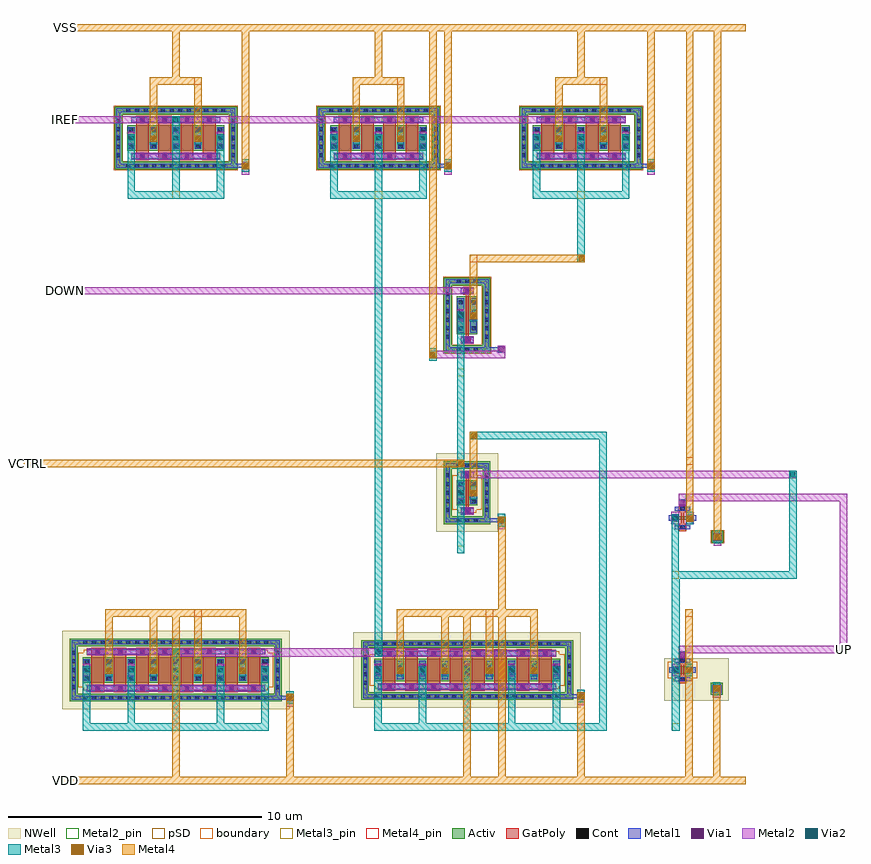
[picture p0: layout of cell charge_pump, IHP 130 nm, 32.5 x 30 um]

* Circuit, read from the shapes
.subckt charge_pump DOWN IREF UP VCTRL VDD VSS
XM1 VSS IREF IREF VSS sg13_lv_nmos w=1u l=0.5u m=4
XM2 VSS IREF cp_n_w1_l0p5_ng4_strapped_6/D VSS sg13_lv_nmos w=1u l=0.5u m=4
XM3 cp_n_w1_l0p5_ng4_strapped_7/D DOWN VCTRL VSS sg13_lv_nmos w=1.5u l=0.13u
XM4 VSS IREF cp_n_w1_l0p5_ng4_strapped_7/D VSS sg13_lv_nmos w=1u l=0.5u m=4
XM5 VSS UP cp_n_w0p15_l0p13_ng1_access_8/D VSS sg13_lv_nmos w=0.15u l=0.13u
XM6 VDD cp_n_w1_l0p5_ng4_strapped_6/D cp_n_w1_l0p5_ng4_strapped_6/D VDD sg13_lv_pmos w=1u l=0.5u m=8
XM7 VDD cp_n_w1_l0p5_ng4_strapped_6/D cp_p_w0p875_l0p5_ng8_strapped_1/D VDD sg13_lv_pmos w=0.88u l=0.5u m=8
XM8 cp_p_w0p875_l0p5_ng8_strapped_1/D cp_n_w0p15_l0p13_ng1_access_8/D VCTRL VDD sg13_lv_pmos w=1u l=0.13u
XM9 VDD UP cp_n_w0p15_l0p13_ng1_access_8/D VDD sg13_lv_pmos w=0.3u l=0.13u
.ends

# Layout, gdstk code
import gdstk
lib = gdstk.Library(unit=1e-6, precision=1e-09)
def R(c, l, rs):  # rectangles x0, y0, x1, y1
    for r in rs: c.add(gdstk.rectangle(r[:2], r[2:], *l))
def A(c, l, x, y, w, h, nx, ny, dx, dy):  # array of equal rectangles
    R(c, l, [(x+i*dx, y+j*dy, x+i*dx+w, y+j*dy+h) for i in range(nx) for j in range(ny)])
Activ = (1, 0)
GatPoly = (5, 0)
Cont = (6, 0)
Metal1 = (8, 0)
Metal2 = (10, 0)
Metal2_pin = (10, 2)
pSD = (14, 0)
Via1 = (19, 0)
Via2 = (29, 0)
Metal3 = (30, 0)
Metal3_pin = (30, 2)
NWell = (31, 0)
Via3 = (49, 0)
Metal4 = (50, 0)
Metal4_pin = (50, 2)
boundary = (189, 4)

dev_p_w1_l0p5_ng8 = lib.new_cell('dev_p_w1_l0p5_ng8')
R(dev_p_w1_l0p5_ng8, Activ, [(-4.18,-1.24,4.18,-0.94), (-4.18,-0.94,-3.88,0.94), (3.88,-0.94,4.18,0.94), (-3.67,-0.5,3.67,0.5), (-4.18,0.94,4.18,1.24)])
A(dev_p_w1_l0p5_ng8, GatPoly, -3.33, -0.87, 0.5, 1.74, 8, 1, 0.88, 0)
A(dev_p_w1_l0p5_ng8, Cont, -3.65, -1.17, 0.16, 0.16, 22, 2, 0.34, 2.18)
A(dev_p_w1_l0p5_ng8, Cont, -3.16, -0.8, 0.16, 0.16, 8, 2, 0.88, 1.44)
A(dev_p_w1_l0p5_ng8, Cont, -4.11, -0.76, 0.16, 0.16, 1, 5, 0, 0.34)
A(dev_p_w1_l0p5_ng8, Cont, 3.95, -0.76, 0.16, 0.16, 1, 5, 0, 0.34)
A(dev_p_w1_l0p5_ng8, Cont, -3.6, -0.42, 0.16, 0.16, 9, 3, 0.88, 0.34)
A(dev_p_w1_l0p5_ng8, Metal1, -3.65, -0.43, 0.26, 0.86, 9, 1, 0.88, 0)
R(dev_p_w1_l0p5_ng8, Metal1, [(-4.11,-1.17,4.11,-1.01), (-4.11,-1.01,-3.95,1.01), (3.95,-1.01,4.11,1.01), (-3.52,-0.825,3.52,-0.615), (-3.52,0.615,3.52,0.825), (-4.11,1.01,4.11,1.17)])
A(dev_p_w1_l0p5_ng8, Metal2, -3.22, -0.865, 0.28, 0.045, 8, 2, 0.88, 0.245)
A(dev_p_w1_l0p5_ng8, Metal2, -3.22, 0.575, 0.28, 0.045, 8, 2, 0.88, 0.245)
R(dev_p_w1_l0p5_ng8, Metal2, [(-3.52,-0.82,3.52,-0.62), (-3.52,0.62,3.52,0.82)])
R(dev_p_w1_l0p5_ng8, pSD, [(-3.63,-0.8,3.63,-0.68), (-3.85,-0.68,3.85,0.68), (-3.63,0.68,3.63,0.8)])
A(dev_p_w1_l0p5_ng8, Via1, -3.175, -0.815, 0.19, 0.19, 8, 2, 0.88, 1.44)
R(dev_p_w1_l0p5_ng8, NWell, [(-4.49,-1.55,4.49,1.55)])
R(dev_p_w1_l0p5_ng8, boundary, [(-4.03,-1.09,4.03,1.09)])
dev_p_w1_l0p5_ng8.add(gdstk.Label('B', (0,-1.09), layer=8, texttype=25))
dev_p_w1_l0p5_ng8.add(gdstk.Label('D0', (-3.52,0), layer=8, texttype=25))
dev_p_w1_l0p5_ng8.add(gdstk.Label('G', (3.08,0.72), layer=8, texttype=25))
dev_p_w1_l0p5_ng8.add(gdstk.Label('G', (2.2,0.72), layer=8, texttype=25))
dev_p_w1_l0p5_ng8.add(gdstk.Label('G', (1.32,0.72), layer=8, texttype=25))
dev_p_w1_l0p5_ng8.add(gdstk.Label('G', (0.44,0.72), layer=8, texttype=25))
dev_p_w1_l0p5_ng8.add(gdstk.Label('G', (-0.44,0.72), layer=8, texttype=25))
dev_p_w1_l0p5_ng8.add(gdstk.Label('G', (-1.32,0.72), layer=8, texttype=25))
dev_p_w1_l0p5_ng8.add(gdstk.Label('G', (-2.2,0.72), layer=8, texttype=25))
dev_p_w1_l0p5_ng8.add(gdstk.Label('G', (-3.08,0.72), layer=8, texttype=25))
dev_p_w1_l0p5_ng8.add(gdstk.Label('S1', (-2.64,0), layer=8, texttype=25))
dev_p_w1_l0p5_ng8.add(gdstk.Label('D2', (-1.76,0), layer=8, texttype=25))
dev_p_w1_l0p5_ng8.add(gdstk.Label('S3', (-0.88,0), layer=8, texttype=25))
dev_p_w1_l0p5_ng8.add(gdstk.Label('D4', (0,0), layer=8, texttype=25))
dev_p_w1_l0p5_ng8.add(gdstk.Label('S5', (0.88,0), layer=8, texttype=25))
dev_p_w1_l0p5_ng8.add(gdstk.Label('D6', (1.76,0), layer=8, texttype=25))
dev_p_w1_l0p5_ng8.add(gdstk.Label('S7', (2.64,0), layer=8, texttype=25))

cp_p_w1_l0p5_ng8_strappe = lib.new_cell('cp_p_w1_l0p5_ng8_strapped')
A(cp_p_w1_l0p5_ng8_strappe, Metal1, -3.665, -0.145, 0.29, 0.29, 9, 1, 0.88, 0)
R(cp_p_w1_l0p5_ng8_strappe, Metal1, [(4.355,-1.235,4.645,-1.17), (-0.145,-1.17,4.645,-1.01), (4.355,-1.01,4.645,-0.945)])
A(cp_p_w1_l0p5_ng8_strappe, Metal2, -3.665, -0.25, 0.29, 0.5, 9, 1, 0.88, 0)
R(cp_p_w1_l0p5_ng8_strappe, Metal2, [(4.355,-1.445,4.645,-0.945), (-3.52,-0.865,3.52,-0.575), (-3.52,0.575,3.52,0.865)])
R(cp_p_w1_l0p5_ng8_strappe, Metal2_pin, [(4.355,-1.235,4.645,-0.945), (-0.145,0.575,0.145,0.865)])
A(cp_p_w1_l0p5_ng8_strappe, Via1, -3.615, -0.095, 0.19, 0.19, 9, 1, 0.88, 0)
R(cp_p_w1_l0p5_ng8_strappe, Via1, [(4.405,-1.185,4.595,-0.995)])
A(cp_p_w1_l0p5_ng8_strappe, Via2, -3.615, -0.095, 0.19, 0.19, 9, 1, 0.88, 0)
A(cp_p_w1_l0p5_ng8_strappe, Metal3, -3.665, -2.105, 0.29, 2.25, 5, 1, 1.76, 0)
A(cp_p_w1_l0p5_ng8_strappe, Metal3, -2.785, -0.25, 0.29, 0.5, 4, 1, 1.76, 0)
R(cp_p_w1_l0p5_ng8_strappe, Metal3, [(-3.665,-2.395,3.665,-2.105)])
R(cp_p_w1_l0p5_ng8_strappe, Metal3_pin, [(-0.145,-2.395,0.145,-2.105)])
A(cp_p_w1_l0p5_ng8_strappe, Via3, -2.735, -0.095, 0.19, 0.19, 4, 1, 1.76, 0)
A(cp_p_w1_l0p5_ng8_strappe, Metal4, -2.785, -0.145, 0.29, 2.25, 4, 1, 1.76, 0)
R(cp_p_w1_l0p5_ng8_strappe, Metal4, [(-2.785,2.105,2.785,2.395)])
R(cp_p_w1_l0p5_ng8_strappe, Metal4_pin, [(0.735,2.105,1.025,2.395)])
cp_p_w1_l0p5_ng8_strappe.add(gdstk.Reference(dev_p_w1_l0p5_ng8, (0,0)))
cp_p_w1_l0p5_ng8_strappe.add(gdstk.Label('B', (4.5,-1.09), layer=10, texttype=25))
cp_p_w1_l0p5_ng8_strappe.add(gdstk.Label('D', (0,-2.25), layer=30, texttype=25))
cp_p_w1_l0p5_ng8_strappe.add(gdstk.Label('G', (0,0.72), layer=10, texttype=25))
cp_p_w1_l0p5_ng8_strappe.add(gdstk.Label('S', (0.88,2.25), layer=50, texttype=25))

dev_p_w0p875_l0p5_ng8 = lib.new_cell('dev_p_w0p875_l0p5_ng8')
R(dev_p_w0p875_l0p5_ng8, Activ, [(-4.18,-1.18,4.18,-0.88), (-4.18,-0.88,-3.88,0.88), (3.88,-0.88,4.18,0.88), (-3.67,-0.44,3.67,0.44), (-4.18,0.88,4.18,1.18)])
A(dev_p_w0p875_l0p5_ng8, GatPoly, -3.33, -0.81, 0.5, 1.62, 8, 1, 0.88, 0)
A(dev_p_w0p875_l0p5_ng8, Cont, -3.65, -1.11, 0.16, 0.16, 22, 2, 0.34, 2.06)
A(dev_p_w0p875_l0p5_ng8, Cont, -3.16, -0.74, 0.16, 0.16, 8, 2, 0.88, 1.32)
A(dev_p_w0p875_l0p5_ng8, Cont, -4.11, -0.59, 0.16, 0.16, 1, 4, 0, 0.34)
A(dev_p_w0p875_l0p5_ng8, Cont, 3.95, -0.59, 0.16, 0.16, 1, 4, 0, 0.34)
A(dev_p_w0p875_l0p5_ng8, Cont, -3.6, -0.25, 0.16, 0.16, 9, 2, 0.88, 0.34)
A(dev_p_w0p875_l0p5_ng8, Metal1, -3.65, -0.37, 0.26, 0.74, 9, 1, 0.88, 0)
R(dev_p_w0p875_l0p5_ng8, Metal1, [(-4.11,-1.11,4.11,-0.95), (-4.11,-0.95,-3.95,0.95), (3.95,-0.95,4.11,0.95), (-3.52,-0.765,3.52,-0.555), (-3.52,0.555,3.52,0.765), (-4.11,0.95,4.11,1.11)])
A(dev_p_w0p875_l0p5_ng8, Metal2, -3.22, -0.805, 0.28, 0.045, 8, 2, 0.88, 0.245)
A(dev_p_w0p875_l0p5_ng8, Metal2, -3.22, 0.515, 0.28, 0.045, 8, 2, 0.88, 0.245)
R(dev_p_w0p875_l0p5_ng8, Metal2, [(-3.52,-0.76,3.52,-0.56), (-3.52,0.56,3.52,0.76)])
R(dev_p_w0p875_l0p5_ng8, pSD, [(-3.63,-0.74,3.63,-0.62), (-3.85,-0.62,3.85,0.62), (-3.63,0.62,3.63,0.74)])
A(dev_p_w0p875_l0p5_ng8, Via1, -3.175, -0.755, 0.19, 0.19, 8, 2, 0.88, 1.32)
R(dev_p_w0p875_l0p5_ng8, NWell, [(-4.49,-1.49,4.49,1.49)])
R(dev_p_w0p875_l0p5_ng8, boundary, [(-4.03,-1.03,4.03,1.03)])
dev_p_w0p875_l0p5_ng8.add(gdstk.Label('B', (0,-1.03), layer=8, texttype=25))
dev_p_w0p875_l0p5_ng8.add(gdstk.Label('D0', (-3.52,0), layer=8, texttype=25))
dev_p_w0p875_l0p5_ng8.add(gdstk.Label('G', (3.08,0.66), layer=8, texttype=25))
dev_p_w0p875_l0p5_ng8.add(gdstk.Label('G', (2.2,0.66), layer=8, texttype=25))
dev_p_w0p875_l0p5_ng8.add(gdstk.Label('G', (1.32,0.66), layer=8, texttype=25))
dev_p_w0p875_l0p5_ng8.add(gdstk.Label('G', (0.44,0.66), layer=8, texttype=25))
dev_p_w0p875_l0p5_ng8.add(gdstk.Label('G', (-0.44,0.66), layer=8, texttype=25))
dev_p_w0p875_l0p5_ng8.add(gdstk.Label('G', (-1.32,0.66), layer=8, texttype=25))
dev_p_w0p875_l0p5_ng8.add(gdstk.Label('G', (-2.2,0.66), layer=8, texttype=25))
dev_p_w0p875_l0p5_ng8.add(gdstk.Label('G', (-3.08,0.66), layer=8, texttype=25))
dev_p_w0p875_l0p5_ng8.add(gdstk.Label('S1', (-2.64,0), layer=8, texttype=25))
dev_p_w0p875_l0p5_ng8.add(gdstk.Label('D2', (-1.76,0), layer=8, texttype=25))
dev_p_w0p875_l0p5_ng8.add(gdstk.Label('S3', (-0.88,0), layer=8, texttype=25))
dev_p_w0p875_l0p5_ng8.add(gdstk.Label('D4', (0,0), layer=8, texttype=25))
dev_p_w0p875_l0p5_ng8.add(gdstk.Label('S5', (0.88,0), layer=8, texttype=25))
dev_p_w0p875_l0p5_ng8.add(gdstk.Label('D6', (1.76,0), layer=8, texttype=25))
dev_p_w0p875_l0p5_ng8.add(gdstk.Label('S7', (2.64,0), layer=8, texttype=25))

cp_p_w0p875_l0p5_ng8_str = lib.new_cell('cp_p_w0p875_l0p5_ng8_strapped')
A(cp_p_w0p875_l0p5_ng8_str, Metal1, -3.665, -0.145, 0.29, 0.29, 9, 1, 0.88, 0)
R(cp_p_w0p875_l0p5_ng8_str, Metal1, [(4.355,-1.175,4.645,-1.11), (-0.145,-1.11,4.645,-0.95), (4.355,-0.95,4.645,-0.885)])
A(cp_p_w0p875_l0p5_ng8_str, Metal2, -3.665, -0.25, 0.29, 0.5, 9, 1, 0.88, 0)
R(cp_p_w0p875_l0p5_ng8_str, Metal2, [(4.355,-1.385,4.645,-0.885), (-3.52,-0.805,3.52,-0.515), (-3.52,0.515,3.52,0.805)])
R(cp_p_w0p875_l0p5_ng8_str, Metal2_pin, [(4.355,-1.175,4.645,-0.885), (-0.145,0.515,0.145,0.805)])
A(cp_p_w0p875_l0p5_ng8_str, Via1, -3.615, -0.095, 0.19, 0.19, 9, 1, 0.88, 0)
R(cp_p_w0p875_l0p5_ng8_str, Via1, [(4.405,-1.125,4.595,-0.935)])
A(cp_p_w0p875_l0p5_ng8_str, Via2, -3.615, -0.095, 0.19, 0.19, 9, 1, 0.88, 0)
A(cp_p_w0p875_l0p5_ng8_str, Metal3, -3.665, -2.105, 0.29, 2.25, 5, 1, 1.76, 0)
A(cp_p_w0p875_l0p5_ng8_str, Metal3, -2.785, -0.25, 0.29, 0.5, 4, 1, 1.76, 0)
R(cp_p_w0p875_l0p5_ng8_str, Metal3, [(-3.665,-2.395,3.665,-2.105)])
R(cp_p_w0p875_l0p5_ng8_str, Metal3_pin, [(-0.145,-2.395,0.145,-2.105)])
A(cp_p_w0p875_l0p5_ng8_str, Via3, -2.735, -0.095, 0.19, 0.19, 4, 1, 1.76, 0)
A(cp_p_w0p875_l0p5_ng8_str, Metal4, -2.785, -0.145, 0.29, 2.25, 4, 1, 1.76, 0)
R(cp_p_w0p875_l0p5_ng8_str, Metal4, [(-2.785,2.105,2.785,2.395)])
R(cp_p_w0p875_l0p5_ng8_str, Metal4_pin, [(0.735,2.105,1.025,2.395)])
cp_p_w0p875_l0p5_ng8_str.add(gdstk.Reference(dev_p_w0p875_l0p5_ng8, (0,0)))
cp_p_w0p875_l0p5_ng8_str.add(gdstk.Label('B', (4.5,-1.03), layer=10, texttype=25))
cp_p_w0p875_l0p5_ng8_str.add(gdstk.Label('D', (0,-2.25), layer=30, texttype=25))
cp_p_w0p875_l0p5_ng8_str.add(gdstk.Label('G', (0,0.66), layer=10, texttype=25))
cp_p_w0p875_l0p5_ng8_str.add(gdstk.Label('S', (0.88,2.25), layer=50, texttype=25))

dev_p_w0p3_l0p13_ng1_nog = lib.new_cell('dev_p_w0p3_l0p13_ng1_noguard_sdvia')
R(dev_p_w0p3_l0p13_ng1_nog, Activ, [(-0.405,-0.15,0.405,0.15)])
R(dev_p_w0p3_l0p13_ng1_nog, GatPoly, [(-0.15,-0.52,0.15,-0.22), (-0.065,-0.22,0.065,0.22), (-0.15,0.22,0.15,0.52)])
R(dev_p_w0p3_l0p13_ng1_nog, Cont, [(-0.08,-0.45,0.08,-0.29), (-0.335,-0.08,-0.175,0.08), (0.175,-0.08,0.335,0.08), (-0.08,0.29,0.08,0.45)])
R(dev_p_w0p3_l0p13_ng1_nog, Metal1, [(-0.255,-0.45,0.255,-0.29), (-0.515,-0.11,-0.105,0.11), (0.105,-0.11,0.515,0.11), (-0.255,0.29,0.255,0.45)])
R(dev_p_w0p3_l0p13_ng1_nog, Metal2, [(-0.405,-0.24,-0.105,0.24), (0.105,-0.24,0.405,0.24)])
R(dev_p_w0p3_l0p13_ng1_nog, pSD, [(-0.365,-0.45,0.365,-0.33), (-0.585,-0.33,0.585,0.33), (-0.365,0.33,0.365,0.45)])
R(dev_p_w0p3_l0p13_ng1_nog, Via1, [(-0.35,-0.095,-0.16,0.095), (0.16,-0.095,0.35,0.095)])
R(dev_p_w0p3_l0p13_ng1_nog, NWell, [(-0.715,-0.46,0.715,0.46)])
dev_p_w0p3_l0p13_ng1_nog.add(gdstk.Label('D', (-0.255,0), layer=8, texttype=25))
dev_p_w0p3_l0p13_ng1_nog.add(gdstk.Label('S', (0.255,0), layer=8, texttype=25))
dev_p_w0p3_l0p13_ng1_nog.add(gdstk.Label('G', (0,0.37), layer=8, texttype=25))

cp_p_w0p3_l0p13_ng1_acce = lib.new_cell('cp_p_w0p3_l0p13_ng1_access')
R(cp_p_w0p3_l0p13_ng1_acce, Activ, [(1.12,-0.97,1.58,-0.51)])
R(cp_p_w0p3_l0p13_ng1_acce, Cont, [(1.27,-0.82,1.43,-0.66)])
R(cp_p_w0p3_l0p13_ng1_acce, Metal1, [(1.175,-0.9,1.525,-0.58), (-0.3,-0.45,0.3,-0.29), (-0.3,0.29,0.3,0.45), (-0.145,0.45,0.145,0.75)])
R(cp_p_w0p3_l0p13_ng1_acce, Metal2, [(1.2,-1.095,1.5,-0.595), (-0.4,-0.25,-0.11,0.25), (0.11,-0.25,0.4,0.25), (-0.15,0.46,0.15,0.96)])
R(cp_p_w0p3_l0p13_ng1_acce, Metal2_pin, [(1.205,-0.885,1.495,-0.595), (-0.145,0.67,0.145,0.96)])
R(cp_p_w0p3_l0p13_ng1_acce, Via1, [(1.255,-0.835,1.445,-0.645), (-0.095,0.505,0.095,0.695)])
R(cp_p_w0p3_l0p13_ng1_acce, Via2, [(-0.35,-0.095,-0.16,0.095), (0.16,-0.095,0.35,0.095)])
R(cp_p_w0p3_l0p13_ng1_acce, Metal3, [(-0.4,-2.395,-0.11,0.145), (0.11,-0.25,0.4,0.25)])
R(cp_p_w0p3_l0p13_ng1_acce, Metal3_pin, [(-0.4,-2.395,-0.11,-2.105)])
R(cp_p_w0p3_l0p13_ng1_acce, NWell, [(-0.715,-1.21,1.82,0.46)])
R(cp_p_w0p3_l0p13_ng1_acce, Via3, [(0.16,-0.095,0.35,0.095)])
R(cp_p_w0p3_l0p13_ng1_acce, Metal4, [(0.11,-0.145,0.4,2.395)])
R(cp_p_w0p3_l0p13_ng1_acce, Metal4_pin, [(0.11,2.105,0.4,2.395)])
cp_p_w0p3_l0p13_ng1_acce.add(gdstk.Reference(dev_p_w0p3_l0p13_ng1_nog, (0,0)))
cp_p_w0p3_l0p13_ng1_acce.add(gdstk.Label('B', (1.35,-0.74), layer=10, texttype=25))
cp_p_w0p3_l0p13_ng1_acce.add(gdstk.Label('D', (-0.255,-2.25), layer=30, texttype=25))
cp_p_w0p3_l0p13_ng1_acce.add(gdstk.Label('G', (0,0.815), layer=10, texttype=25))
cp_p_w0p3_l0p13_ng1_acce.add(gdstk.Label('S', (0.255,2.25), layer=50, texttype=25))

dev_p_w1_l0p13_ng1 = lib.new_cell('dev_p_w1_l0p13_ng1')
R(dev_p_w1_l0p13_ng1, Activ, [(-0.915,-1.24,0.915,-0.94), (-0.915,-0.94,-0.615,0.94), (0.615,-0.94,0.915,0.94), (-0.405,-0.5,0.405,0.5), (-0.915,0.94,0.915,1.24)])
R(dev_p_w1_l0p13_ng1, GatPoly, [(-0.15,-0.87,0.15,-0.57), (-0.065,-0.57,0.065,0.57), (-0.15,0.57,0.15,0.87)])
A(dev_p_w1_l0p13_ng1, Cont, -0.42, -1.17, 0.16, 0.16, 3, 2, 0.34, 2.18)
A(dev_p_w1_l0p13_ng1, Cont, -0.845, -0.42, 0.16, 0.16, 4, 3, 0.51, 0.34)
R(dev_p_w1_l0p13_ng1, Cont, [(-0.08,-0.8,0.08,-0.64), (-0.845,-0.76,-0.685,-0.6), (0.685,-0.76,0.845,-0.6), (-0.845,0.6,-0.685,0.76), (0.685,0.6,0.845,0.76), (-0.08,0.64,0.08,0.8)])
R(dev_p_w1_l0p13_ng1, Metal1, [(-0.845,-1.17,0.845,-1.01), (-0.845,-1.01,-0.685,1.01), (0.685,-1.01,0.845,1.01), (-0.255,-0.825,0.255,-0.615), (-0.385,-0.43,-0.125,0.43), (0.125,-0.43,0.385,0.43), (-0.255,0.615,0.255,0.825), (-0.845,1.01,0.845,1.17)])
R(dev_p_w1_l0p13_ng1, Metal2, [(-0.1,-0.865,0.1,-0.82), (-0.255,-0.82,0.255,-0.62), (-0.1,-0.62,0.1,-0.575), (-0.1,0.575,0.1,0.62), (-0.255,0.62,0.255,0.82), (-0.1,0.82,0.1,0.865)])
R(dev_p_w1_l0p13_ng1, pSD, [(-0.365,-0.8,0.365,-0.68), (-0.585,-0.68,0.585,0.68), (-0.365,0.68,0.365,0.8)])
R(dev_p_w1_l0p13_ng1, Via1, [(-0.095,-0.815,0.095,-0.625), (-0.095,0.625,0.095,0.815)])
R(dev_p_w1_l0p13_ng1, NWell, [(-1.225,-1.55,1.225,1.55)])
R(dev_p_w1_l0p13_ng1, boundary, [(-0.765,-1.09,0.765,1.09)])
dev_p_w1_l0p13_ng1.add(gdstk.Label('B', (0,-1.09), layer=8, texttype=25))
dev_p_w1_l0p13_ng1.add(gdstk.Label('D', (-0.255,0), layer=8, texttype=25))
dev_p_w1_l0p13_ng1.add(gdstk.Label('S', (0.255,0), layer=8, texttype=25))
dev_p_w1_l0p13_ng1.add(gdstk.Label('G', (0,0.72), layer=8, texttype=25))

cp_p_w1_l0p13_ng1_access = lib.new_cell('cp_p_w1_l0p13_ng1_access')
R(cp_p_w1_l0p13_ng1_access, Metal1, [(1.205,-1.235,1.495,-1.17), (-0.145,-1.17,1.495,-1.01), (1.205,-1.01,1.495,-0.945), (-0.4,-0.145,-0.11,0.145), (0.11,-0.145,0.4,0.145)])
R(cp_p_w1_l0p13_ng1_access, Metal2, [(1.205,-1.445,1.495,-0.945), (-0.255,-0.865,0.255,-0.575), (-0.4,-0.25,-0.11,0.25), (0.11,-0.25,0.4,0.25), (-0.255,0.575,0.255,0.865)])
R(cp_p_w1_l0p13_ng1_access, Metal2_pin, [(1.205,-1.235,1.495,-0.945), (-0.145,0.575,0.145,0.865)])
R(cp_p_w1_l0p13_ng1_access, Via1, [(1.255,-1.185,1.445,-0.995), (-0.35,-0.095,-0.16,0.095), (0.16,-0.095,0.35,0.095)])
R(cp_p_w1_l0p13_ng1_access, Via2, [(-0.35,-0.095,-0.16,0.095), (0.16,-0.095,0.35,0.095)])
R(cp_p_w1_l0p13_ng1_access, Metal3, [(-0.4,-2.395,-0.11,0.145), (0.11,-0.25,0.4,0.25)])
R(cp_p_w1_l0p13_ng1_access, Metal3_pin, [(-0.4,-2.395,-0.11,-2.105)])
R(cp_p_w1_l0p13_ng1_access, Via3, [(0.16,-0.095,0.35,0.095)])
R(cp_p_w1_l0p13_ng1_access, Metal4, [(0.11,-0.145,0.4,2.395)])
R(cp_p_w1_l0p13_ng1_access, Metal4_pin, [(0.11,2.105,0.4,2.395)])
cp_p_w1_l0p13_ng1_access.add(gdstk.Reference(dev_p_w1_l0p13_ng1, (0,0)))
cp_p_w1_l0p13_ng1_access.add(gdstk.Label('B', (1.35,-1.09), layer=10, texttype=25))
cp_p_w1_l0p13_ng1_access.add(gdstk.Label('D', (-0.255,-2.25), layer=30, texttype=25))
cp_p_w1_l0p13_ng1_access.add(gdstk.Label('G', (0,0.72), layer=10, texttype=25))
cp_p_w1_l0p13_ng1_access.add(gdstk.Label('S', (0.255,2.25), layer=50, texttype=25))

dev_n_w1p5_l0p13_ng1 = lib.new_cell('dev_n_w1p5_l0p13_ng1')
R(dev_n_w1p5_l0p13_ng1, Activ, [(-0.915,-1.49,0.915,-1.19), (-0.915,-1.19,-0.615,1.19), (0.615,-1.19,0.915,1.19), (-0.405,-0.75,0.405,0.75), (-0.915,1.19,0.915,1.49)])
R(dev_n_w1p5_l0p13_ng1, GatPoly, [(-0.15,-1.12,0.15,-0.82), (-0.065,-0.82,0.065,0.82), (-0.15,0.82,0.15,1.12)])
A(dev_n_w1p5_l0p13_ng1, Cont, -0.42, -1.42, 0.16, 0.16, 3, 2, 0.34, 2.68)
A(dev_n_w1p5_l0p13_ng1, Cont, -0.845, -0.59, 0.16, 0.16, 4, 4, 0.51, 0.34)
R(dev_n_w1p5_l0p13_ng1, Cont, [(-0.08,-1.05,0.08,-0.89), (-0.845,-0.93,-0.685,-0.77), (0.685,-0.93,0.845,-0.77), (-0.845,0.77,-0.685,0.93), (0.685,0.77,0.845,0.93), (-0.08,0.89,0.08,1.05)])
R(dev_n_w1p5_l0p13_ng1, Metal1, [(-0.845,-1.42,0.845,-1.26), (-0.845,-1.26,-0.685,1.26), (0.685,-1.26,0.845,1.26), (-0.255,-1.075,0.255,-0.865), (-0.385,-0.68,-0.125,0.68), (0.125,-0.68,0.385,0.68), (-0.255,0.865,0.255,1.075), (-0.845,1.26,0.845,1.42)])
R(dev_n_w1p5_l0p13_ng1, Metal2, [(-0.1,-1.115,0.1,-1.07), (-0.255,-1.07,0.255,-0.87), (-0.1,-0.87,0.1,-0.825), (-0.1,0.825,0.1,0.87), (-0.255,0.87,0.255,1.07), (-0.1,1.07,0.1,1.115)])
R(dev_n_w1p5_l0p13_ng1, pSD, [(-0.945,-1.52,0.945,-1.16), (-0.945,-1.16,-0.585,1.16), (0.585,-1.16,0.945,1.16), (-0.945,1.16,0.945,1.52)])
R(dev_n_w1p5_l0p13_ng1, Via1, [(-0.095,-1.065,0.095,-0.875), (-0.095,0.875,0.095,1.065)])
R(dev_n_w1p5_l0p13_ng1, boundary, [(-0.765,-1.34,0.765,1.34)])
dev_n_w1p5_l0p13_ng1.add(gdstk.Label('B', (0,-1.34), layer=8, texttype=25))
dev_n_w1p5_l0p13_ng1.add(gdstk.Label('D', (-0.255,0), layer=8, texttype=25))
dev_n_w1p5_l0p13_ng1.add(gdstk.Label('S', (0.255,0), layer=8, texttype=25))
dev_n_w1p5_l0p13_ng1.add(gdstk.Label('G', (0,0.97), layer=8, texttype=25))

cp_n_w1p5_l0p13_ng1_acce = lib.new_cell('cp_n_w1p5_l0p13_ng1_access')
R(cp_n_w1p5_l0p13_ng1_acce, Metal1, [(1.205,-1.485,1.495,-1.42), (-0.145,-1.42,1.495,-1.26), (1.205,-1.26,1.495,-1.195), (-0.4,-0.145,-0.11,0.145), (0.11,-0.145,0.4,0.145)])
R(cp_n_w1p5_l0p13_ng1_acce, Metal2, [(1.205,-1.695,1.495,-1.195), (-0.255,-1.115,0.255,-0.825), (-0.4,-0.25,-0.11,0.25), (0.11,-0.25,0.4,0.25), (-0.255,0.825,0.255,1.115)])
R(cp_n_w1p5_l0p13_ng1_acce, Metal2_pin, [(1.205,-1.485,1.495,-1.195), (-0.145,0.825,0.145,1.115)])
R(cp_n_w1p5_l0p13_ng1_acce, Via1, [(1.255,-1.435,1.445,-1.245), (-0.35,-0.095,-0.16,0.095), (0.16,-0.095,0.35,0.095)])
R(cp_n_w1p5_l0p13_ng1_acce, Via2, [(-0.35,-0.095,-0.16,0.095), (0.16,-0.095,0.35,0.095)])
R(cp_n_w1p5_l0p13_ng1_acce, Metal3, [(-0.4,-2.395,-0.11,0.145), (0.11,-0.25,0.4,0.25)])
R(cp_n_w1p5_l0p13_ng1_acce, Metal3_pin, [(-0.4,-2.395,-0.11,-2.105)])
R(cp_n_w1p5_l0p13_ng1_acce, Via3, [(0.16,-0.095,0.35,0.095)])
R(cp_n_w1p5_l0p13_ng1_acce, Metal4, [(0.11,-0.145,0.4,2.395)])
R(cp_n_w1p5_l0p13_ng1_acce, Metal4_pin, [(0.11,2.105,0.4,2.395)])
cp_n_w1p5_l0p13_ng1_acce.add(gdstk.Reference(dev_n_w1p5_l0p13_ng1, (0,0)))
cp_n_w1p5_l0p13_ng1_acce.add(gdstk.Label('B', (1.35,-1.34), layer=10, texttype=25))
cp_n_w1p5_l0p13_ng1_acce.add(gdstk.Label('D', (-0.255,-2.25), layer=30, texttype=25))
cp_n_w1p5_l0p13_ng1_acce.add(gdstk.Label('G', (0,0.97), layer=10, texttype=25))
cp_n_w1p5_l0p13_ng1_acce.add(gdstk.Label('S', (0.255,2.25), layer=50, texttype=25))

dev_n_w1_l0p5_ng4 = lib.new_cell('dev_n_w1_l0p5_ng4')
R(dev_n_w1_l0p5_ng4, Activ, [(-2.42,-1.24,2.42,-0.94), (-2.42,-0.94,-2.12,0.94), (2.12,-0.94,2.42,0.94), (-1.91,-0.5,1.91,0.5), (-2.42,0.94,2.42,1.24)])
A(dev_n_w1_l0p5_ng4, GatPoly, -1.57, -0.87, 0.5, 1.74, 4, 1, 0.88, 0)
A(dev_n_w1_l0p5_ng4, Cont, -1.95, -1.17, 0.16, 0.16, 12, 2, 0.34, 2.18)
A(dev_n_w1_l0p5_ng4, Cont, -1.4, -0.8, 0.16, 0.16, 4, 2, 0.88, 1.44)
A(dev_n_w1_l0p5_ng4, Cont, -2.35, -0.76, 0.16, 0.16, 1, 5, 0, 0.34)
A(dev_n_w1_l0p5_ng4, Cont, 2.19, -0.76, 0.16, 0.16, 1, 5, 0, 0.34)
A(dev_n_w1_l0p5_ng4, Cont, -1.84, -0.42, 0.16, 0.16, 5, 3, 0.88, 0.34)
A(dev_n_w1_l0p5_ng4, Metal1, -1.89, -0.43, 0.26, 0.86, 5, 1, 0.88, 0)
R(dev_n_w1_l0p5_ng4, Metal1, [(-2.35,-1.17,2.35,-1.01), (-2.35,-1.01,-2.19,1.01), (2.19,-1.01,2.35,1.01), (-1.76,-0.825,1.76,-0.615), (-1.76,0.615,1.76,0.825), (-2.35,1.01,2.35,1.17)])
A(dev_n_w1_l0p5_ng4, Metal2, -1.46, -0.865, 0.28, 0.045, 4, 2, 0.88, 0.245)
A(dev_n_w1_l0p5_ng4, Metal2, -1.46, 0.575, 0.28, 0.045, 4, 2, 0.88, 0.245)
R(dev_n_w1_l0p5_ng4, Metal2, [(-1.76,-0.82,1.76,-0.62), (-1.76,0.62,1.76,0.82)])
R(dev_n_w1_l0p5_ng4, pSD, [(-2.45,-1.27,2.45,-0.91), (-2.45,-0.91,-2.09,0.91), (2.09,-0.91,2.45,0.91), (-2.45,0.91,2.45,1.27)])
A(dev_n_w1_l0p5_ng4, Via1, -1.415, -0.815, 0.19, 0.19, 4, 2, 0.88, 1.44)
R(dev_n_w1_l0p5_ng4, boundary, [(-2.27,-1.09,2.27,1.09)])
dev_n_w1_l0p5_ng4.add(gdstk.Label('B', (0,-1.09), layer=8, texttype=25))
dev_n_w1_l0p5_ng4.add(gdstk.Label('D0', (-1.76,0), layer=8, texttype=25))
dev_n_w1_l0p5_ng4.add(gdstk.Label('G', (1.32,0.72), layer=8, texttype=25))
dev_n_w1_l0p5_ng4.add(gdstk.Label('G', (0.44,0.72), layer=8, texttype=25))
dev_n_w1_l0p5_ng4.add(gdstk.Label('G', (-0.44,0.72), layer=8, texttype=25))
dev_n_w1_l0p5_ng4.add(gdstk.Label('G', (-1.32,0.72), layer=8, texttype=25))
dev_n_w1_l0p5_ng4.add(gdstk.Label('S1', (-0.88,0), layer=8, texttype=25))
dev_n_w1_l0p5_ng4.add(gdstk.Label('D2', (0,0), layer=8, texttype=25))
dev_n_w1_l0p5_ng4.add(gdstk.Label('S3', (0.88,0), layer=8, texttype=25))

cp_n_w1_l0p5_ng4_strappe = lib.new_cell('cp_n_w1_l0p5_ng4_strapped')
A(cp_n_w1_l0p5_ng4_strappe, Metal1, -1.905, -0.145, 0.29, 0.29, 5, 1, 0.88, 0)
R(cp_n_w1_l0p5_ng4_strappe, Metal1, [(2.605,-1.235,2.895,-1.17), (-0.145,-1.17,2.895,-1.01), (2.605,-1.01,2.895,-0.945)])
A(cp_n_w1_l0p5_ng4_strappe, Metal2, -1.905, -0.25, 0.29, 0.5, 5, 1, 0.88, 0)
R(cp_n_w1_l0p5_ng4_strappe, Metal2, [(2.605,-1.445,2.895,-0.945), (-1.76,-0.865,1.76,-0.575), (-1.76,0.575,1.76,0.865)])
R(cp_n_w1_l0p5_ng4_strappe, Metal2_pin, [(2.605,-1.235,2.895,-0.945), (-0.145,0.575,0.145,0.865)])
A(cp_n_w1_l0p5_ng4_strappe, Via1, -1.855, -0.095, 0.19, 0.19, 5, 1, 0.88, 0)
R(cp_n_w1_l0p5_ng4_strappe, Via1, [(2.655,-1.185,2.845,-0.995)])
A(cp_n_w1_l0p5_ng4_strappe, Via2, -1.855, -0.095, 0.19, 0.19, 5, 1, 0.88, 0)
A(cp_n_w1_l0p5_ng4_strappe, Metal3, -1.905, -2.105, 0.29, 2.25, 3, 1, 1.76, 0)
R(cp_n_w1_l0p5_ng4_strappe, Metal3, [(-1.905,-2.395,1.905,-2.105), (-1.025,-0.25,-0.735,0.25), (0.735,-0.25,1.025,0.25)])
R(cp_n_w1_l0p5_ng4_strappe, Metal3_pin, [(-0.145,-2.395,0.145,-2.105)])
R(cp_n_w1_l0p5_ng4_strappe, Via3, [(-0.975,-0.095,-0.785,0.095), (0.785,-0.095,0.975,0.095)])
R(cp_n_w1_l0p5_ng4_strappe, Metal4, [(-1.025,-0.145,-0.735,2.105), (0.735,-0.145,1.025,2.105), (-1.025,2.105,1.025,2.395)])
R(cp_n_w1_l0p5_ng4_strappe, Metal4_pin, [(0.735,2.105,1.025,2.395)])
cp_n_w1_l0p5_ng4_strappe.add(gdstk.Reference(dev_n_w1_l0p5_ng4, (0,0)))
cp_n_w1_l0p5_ng4_strappe.add(gdstk.Label('B', (2.75,-1.09), layer=10, texttype=25))
cp_n_w1_l0p5_ng4_strappe.add(gdstk.Label('D', (0,-2.25), layer=30, texttype=25))
cp_n_w1_l0p5_ng4_strappe.add(gdstk.Label('G', (0,0.72), layer=10, texttype=25))
cp_n_w1_l0p5_ng4_strappe.add(gdstk.Label('S', (0.88,2.25), layer=50, texttype=25))

dev_n_w0p15_l0p13_ng1_no = lib.new_cell('dev_n_w0p15_l0p13_ng1_noguard_sdvia')
R(dev_n_w0p15_l0p13_ng1_no, Activ, [(-0.435,-0.15,-0.135,-0.075), (0.135,-0.15,0.435,-0.075), (-0.435,-0.075,0.435,0.075), (-0.435,0.075,-0.135,0.15), (0.135,0.075,0.435,0.15)])
R(dev_n_w0p15_l0p13_ng1_no, GatPoly, [(-0.15,-0.52,0.15,-0.22), (-0.065,-0.22,0.065,0.22), (-0.15,0.22,0.15,0.52)])
R(dev_n_w0p15_l0p13_ng1_no, Cont, [(-0.08,-0.45,0.08,-0.29), (-0.365,-0.08,-0.205,0.08), (0.205,-0.08,0.365,0.08), (-0.08,0.29,0.08,0.45)])
R(dev_n_w0p15_l0p13_ng1_no, Metal1, [(-0.285,-0.45,0.285,-0.29), (-0.545,-0.11,-0.135,0.11), (0.135,-0.11,0.545,0.11), (-0.285,0.29,0.285,0.45)])
R(dev_n_w0p15_l0p13_ng1_no, Metal2, [(-0.435,-0.24,-0.135,0.24), (0.135,-0.24,0.435,0.24)])
R(dev_n_w0p15_l0p13_ng1_no, Via1, [(-0.38,-0.095,-0.19,0.095), (0.19,-0.095,0.38,0.095)])
dev_n_w0p15_l0p13_ng1_no.add(gdstk.Label('D', (-0.285,0), layer=8, texttype=25))
dev_n_w0p15_l0p13_ng1_no.add(gdstk.Label('S', (0.285,0), layer=8, texttype=25))
dev_n_w0p15_l0p13_ng1_no.add(gdstk.Label('G', (0,0.37), layer=8, texttype=25))

cp_n_w0p15_l0p13_ng1_acc = lib.new_cell('cp_n_w0p15_l0p13_ng1_access')
R(cp_n_w0p15_l0p13_ng1_acc, Activ, [(1.15,-0.97,1.61,-0.51)])
R(cp_n_w0p15_l0p13_ng1_acc, Cont, [(1.3,-0.82,1.46,-0.66)])
R(cp_n_w0p15_l0p13_ng1_acc, Metal1, [(1.205,-0.9,1.555,-0.58), (-0.3,-0.45,0.3,-0.29), (-0.3,0.29,0.3,0.45), (-0.145,0.45,0.145,0.75)])
R(cp_n_w0p15_l0p13_ng1_acc, Metal2, [(1.23,-1.095,1.53,-0.595), (-0.43,-0.25,-0.14,0.25), (0.14,-0.25,0.43,0.25), (-0.15,0.46,0.15,0.96)])
R(cp_n_w0p15_l0p13_ng1_acc, Metal2_pin, [(1.235,-0.885,1.525,-0.595), (-0.145,0.67,0.145,0.96)])
R(cp_n_w0p15_l0p13_ng1_acc, pSD, [(1.12,-1,1.64,-0.48)])
R(cp_n_w0p15_l0p13_ng1_acc, Via1, [(1.285,-0.835,1.475,-0.645), (-0.095,0.505,0.095,0.695)])
R(cp_n_w0p15_l0p13_ng1_acc, Via2, [(-0.38,-0.095,-0.19,0.095), (0.19,-0.095,0.38,0.095)])
R(cp_n_w0p15_l0p13_ng1_acc, Metal3, [(-0.43,-2.395,-0.14,0.145), (0.14,-0.25,0.43,0.25)])
R(cp_n_w0p15_l0p13_ng1_acc, Metal3_pin, [(-0.43,-2.395,-0.14,-2.105)])
R(cp_n_w0p15_l0p13_ng1_acc, Via3, [(0.19,-0.095,0.38,0.095)])
R(cp_n_w0p15_l0p13_ng1_acc, Metal4, [(0.14,-0.145,0.43,2.395)])
R(cp_n_w0p15_l0p13_ng1_acc, Metal4_pin, [(0.14,2.105,0.43,2.395)])
cp_n_w0p15_l0p13_ng1_acc.add(gdstk.Reference(dev_n_w0p15_l0p13_ng1_no, (0,0)))
cp_n_w0p15_l0p13_ng1_acc.add(gdstk.Label('B', (1.38,-0.74), layer=10, texttype=25))
cp_n_w0p15_l0p13_ng1_acc.add(gdstk.Label('D', (-0.285,-2.25), layer=30, texttype=25))
cp_n_w0p15_l0p13_ng1_acc.add(gdstk.Label('G', (0,0.815), layer=10, texttype=25))
cp_n_w0p15_l0p13_ng1_acc.add(gdstk.Label('S', (0.285,2.25), layer=50, texttype=25))

charge_pump = lib.new_cell('charge_pump')
A(charge_pump, Metal2, 8.605, 25.765, 0.29, 0.29, 3, 1, 8, 0)
R(charge_pump, Metal2, [(10.355,4.765,10.645,5.055), (21.855,4.825,22.145,5.115), (27.205,5.115,27.495,5.405), (5.855,6.515,17.645,6.865), (25.855,6.67,32.5,6.96), (32.21,6.96,32.5,12.67), (27.235,11.115,27.525,11.405), (18.705,11.765,18.995,12.055), (25.855,12.67,32.5,12.96), (17.355,13.575,30.5,13.865), (16,18.305,18.995,18.595), (1.5,20.825,17.645,21.115), (1.5,27.575,22.145,27.865)])
R(charge_pump, Metal2_pin, [(32.21,6.67,32.5,6.96), (1.5,20.825,1.79,21.115), (1.5,27.575,1.79,27.865)])
A(charge_pump, Via2, 8.655, 25.815, 0.19, 0.19, 3, 1, 8, 0)
R(charge_pump, Via2, [(10.405,4.815,10.595,5.005), (21.905,4.875,22.095,5.065), (27.255,5.165,27.445,5.355), (5.905,6.625,6.095,6.815), (13.905,6.625,14.095,6.815), (27.285,11.165,27.475,11.355), (18.755,11.815,18.945,12.005), (30.26,13.625,30.45,13.815), (16.05,18.355,16.24,18.545), (5.905,27.625,6.095,27.815)])
A(charge_pump, Metal3, 8.605, 25.66, 0.29, 0.5, 3, 1, 8, 0)
R(charge_pump, Metal3, [(5.855,3.605,6.145,6.865), (17.355,3.605,23,3.895), (25.57,3.605,25.89,9.605), (22.71,3.895,23,15.105), (10.355,4.66,10.645,5.16), (21.855,4.72,22.145,5.22), (27.205,5.01,27.495,5.51), (13.855,6.515,14.145,24.895), (25.57,9.605,30.5,9.895), (30.21,9.895,30.5,13.865), (17.1,10.605,17.39,17.895), (27.235,11.01,27.525,11.51), (18.705,11.66,18.995,12.16), (17.61,15.105,23,15.395), (16,18.2,16.29,18.7), (21.855,22.105,22.145,24.895), (5.855,24.605,6.145,27.865)])
A(charge_pump, Via3, 8.655, 25.815, 0.19, 0.19, 3, 1, 8, 0)
R(charge_pump, Via3, [(10.405,4.815,10.595,5.005), (21.905,4.875,22.095,5.065), (27.255,5.165,27.445,5.355), (27.285,11.165,27.475,11.355), (18.755,11.815,18.945,12.005), (17.15,14.05,17.34,14.24), (17.66,15.155,17.85,15.345), (16.05,18.355,16.24,18.545), (21.905,22.155,22.095,22.345)])
A(charge_pump, Metal4, 8.605, 25.765, 0.29, 5.445, 3, 1, 8, 0)
A(charge_pump, Metal4, 5.855, 29.105, 0.29, 2.105, 3, 1, 8, 0)
R(charge_pump, Metal4, [(1.5,1.5,28.5,1.79), (5.855,1.79,6.145,8.395), (10.355,1.79,10.645,5.055), (17.355,1.79,17.645,8.395), (18.735,1.79,19.025,11.765), (21.855,1.79,22.145,5.115), (26.11,1.79,26.4,8.395), (27.205,1.79,27.495,5.405), (27.235,11.115,27.525,31.21), (18.705,11.765,19.025,12.055), (0,14,17.39,14.29), (26.14,14.105,26.43,31.21), (17.655,15.15,17.855,15.35), (16,18.305,16.29,31.21), (17.61,22.105,22.145,22.395), (1.5,31.21,28.5,31.5)])
R(charge_pump, Metal4_pin, [(1.5,1.5,1.79,1.79), (0,14,0.29,14.29), (1.5,31.21,1.79,31.5)])
charge_pump.add(gdstk.Reference(cp_p_w1_l0p5_ng8_strappe, (6,6)))
charge_pump.add(gdstk.Reference(cp_p_w0p875_l0p5_ng8_str, (17.5,6)))
charge_pump.add(gdstk.Reference(cp_p_w0p3_l0p13_ng1_acce, (26,6)))
charge_pump.add(gdstk.Reference(cp_p_w1_l0p13_ng1_access, (17.5,13)))
charge_pump.add(gdstk.Reference(cp_n_w1p5_l0p13_ng1_acce, (17.5,20)))
charge_pump.add(gdstk.Reference(cp_n_w1_l0p5_ng4_strappe, (6,27)))
charge_pump.add(gdstk.Reference(cp_n_w1_l0p5_ng4_strappe, (14,27)))
charge_pump.add(gdstk.Reference(cp_n_w1_l0p5_ng4_strappe, (22,27)))
charge_pump.add(gdstk.Reference(cp_n_w0p15_l0p13_ng1_acc, (26,12)))
charge_pump.add(gdstk.Label('UP', (32.355,6.815), layer=10, texttype=25))
charge_pump.add(gdstk.Label('DOWN', (1.645,20.97), layer=10, texttype=25))
charge_pump.add(gdstk.Label('IREF', (1.645,27.72), layer=10, texttype=25))
charge_pump.add(gdstk.Label('VCTRL', (0.145,14.145), layer=50, texttype=25))
charge_pump.add(gdstk.Label('VDD', (1.645,1.645), layer=50, texttype=25))
charge_pump.add(gdstk.Label('VSS', (1.645,31.355), layer=50, texttype=25))

lib.write_gds('charge_pump.gds')
